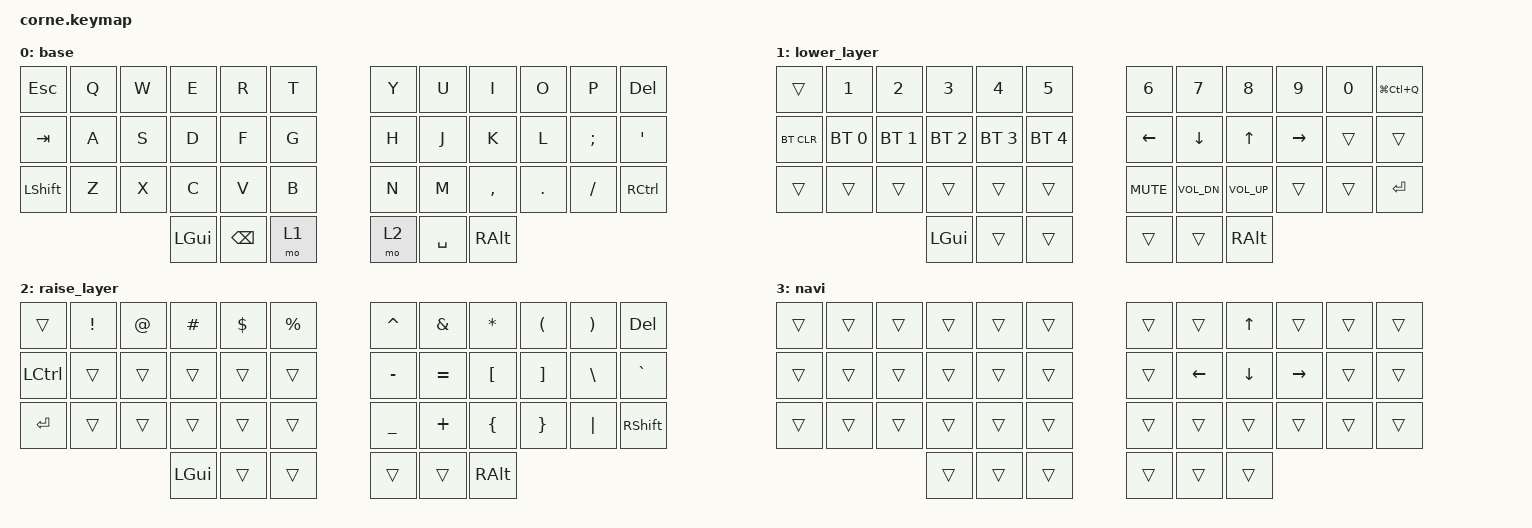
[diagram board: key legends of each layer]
/*
 * Copyright (c) 2020 The ZMK Contributors
 *
 * SPDX-License-Identifier: MIT
 */

#include <behaviors.dtsi>
#include <dt-bindings/zmk/bt.h>
#include <dt-bindings/zmk/keys.h>

/ {
    combos {
        compatible = "zmk,combos";

        RightShift {
            bindings = <&kp RIGHT_SHIFT>;
            key-positions = <35 41>;
            layers = <0>;
        };
    };

    keymap {
        compatible = "zmk,keymap";

        base {
            // -----------------------------------------------------------------------------------------
            // |  TAB |  Q  |  W  |  E  |  R  |  T  |   |  Y  |  U   |  I  |  O  |  P  | BSPC |
            // | CTRL |  A  |  S  |  D  |  F  |  G  |   |  H  |  J   |  K  |  L  |  ;  |  '   |
            // | SHFT |  Z  |  X  |  C  |  V  |  B  |   |  N  |  M   |  ,  |  .  |  /  | ESC  |
            //                    | GUI | LWR | SPC |   | ENT | RSE  | ALT |

            bindings = <
&kp ESCAPE  &kp Q  &kp W  &kp E     &kp R          &kp T    &kp Y  &kp U      &kp I      &kp O    &kp P     &kp DELETE
&kp TAB     &kp A  &kp S  &kp D     &kp F          &kp G    &kp H  &kp J      &kp K      &kp L    &kp SEMI  &kp SQT
&kp LSHFT   &kp Z  &kp X  &kp C     &kp V          &kp B    &kp N  &kp M      &kp COMMA  &kp DOT  &kp FSLH  &kp RCTRL
                          &kp LGUI  &kp BACKSPACE  &mo 1    &mo 2  &kp SPACE  &kp RALT
            >;
        };

        lower_layer {
            // -----------------------------------------------------------------------------------------
            // |  TAB |  1  |  2  |  3  |  4  |  5  |   |  6  |  7  |  8  |  9  |  0  | BSPC |
            // | BTCLR| BT1 | BT2 | BT3 | BT4 | BT5 |   | LFT | DWN |  UP | RGT |     |      |
            // | SHFT |     |     |     |     |     |   |     |     |     |     |     |      |
            //                    | GUI |     | SPC |   | ENT |     | ALT |

            bindings = <
&trans      &kp N1        &kp N2        &kp N3        &kp N4        &kp N5          &kp N6      &kp N7        &kp N8        &kp N9     &kp N0  &kp LG(LC(Q))
&bt BT_CLR  &bt BT_SEL 0  &bt BT_SEL 1  &bt BT_SEL 2  &bt BT_SEL 3  &bt BT_SEL 4    &kp LEFT    &kp DOWN      &kp UP        &kp RIGHT  &trans  &trans
&trans      &trans        &trans        &trans        &trans        &trans          &kp K_MUTE  &kp K_VOL_DN  &kp K_VOL_UP  &trans     &trans  &kp RET
                                        &kp LGUI      &trans        &trans          &trans      &trans        &kp RALT
            >;
        };

        raise_layer {
            // -----------------------------------------------------------------------------------------
            // |  TAB |  !  |  @  |  #  |  $  |  %  |   |  ^  |  &  |  *  |  (  |  )  | BSPC |
            // | CTRL |     |     |     |     |     |   |  -  |  =  |  [  |  ]  |  \  |  `   |
            // | SHFT |     |     |     |     |     |   |  _  |  +  |  {  |  }  | "|" |  ~   |
            //                    | GUI |     | SPC |   | ENT |     | ALT |

            bindings = <
&trans     &kp EXCL  &kp AT  &kp HASH  &kp DLLR  &kp PRCNT    &kp CARET  &kp AMPS   &kp ASTRK  &kp LPAR  &kp RPAR  &kp DELETE
&kp LCTRL  &trans    &trans  &trans    &trans    &trans       &kp MINUS  &kp EQUAL  &kp LBKT   &kp RBKT  &kp BSLH  &kp GRAVE
&kp RET    &trans    &trans  &trans    &trans    &trans       &kp UNDER  &kp PLUS   &kp LBRC   &kp RBRC  &kp PIPE  &kp RIGHT_SHIFT
                             &kp LGUI  &trans    &trans       &trans     &trans     &kp RALT
            >;
        };

        navi {
            bindings = <
&trans  &trans  &trans  &trans  &trans  &trans    &trans  &trans    &kp UP    &trans     &trans  &trans
&trans  &trans  &trans  &trans  &trans  &trans    &trans  &kp LEFT  &kp DOWN  &kp RIGHT  &trans  &trans
&trans  &trans  &trans  &trans  &trans  &trans    &trans  &trans    &trans    &trans     &trans  &trans
                        &trans  &trans  &trans    &trans  &trans    &trans
            >;
        };
    };
};
